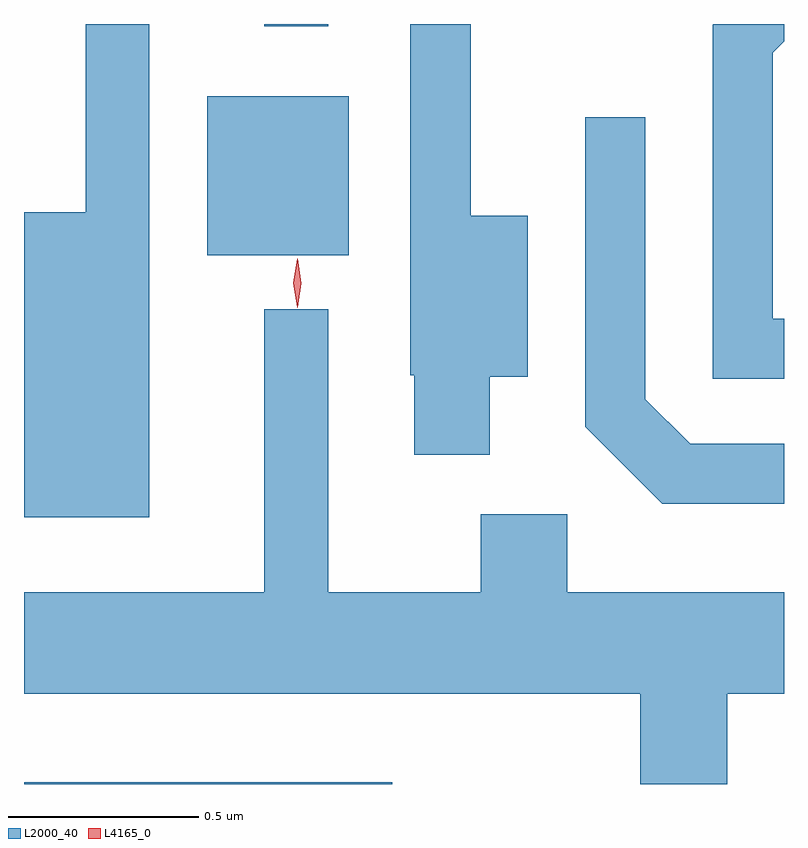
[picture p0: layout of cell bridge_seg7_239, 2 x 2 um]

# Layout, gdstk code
import gdstk
lib = gdstk.Library(unit=1e-6, precision=1e-09)
def R(c, l, rs):  # rectangles x0, y0, x1, y1
    for r in rs: c.add(gdstk.rectangle(r[:2], r[2:], *l))
def P(c, l, *ps):  # polygons
    for p in ps: c.add(gdstk.Polygon(p, *l))
L2000_40 = (2000, 40)
L4165_0 = (4165, 0)

bridge_seg7_239 = lib.new_cell('bridge_seg7_239')
R(bridge_seg7_239, L2000_40, [(1726.089,1687.439,1727.058,1687.444), (1726.571,1688.831,1726.944,1689.249), (1726.721,1689.433,1726.889,1689.439)])
P(bridge_seg7_239, L2000_40, [(1728.089,1688.664),(1728.059,1688.664),(1728.059,1689.364),(1728.089,1689.394),(1728.089,1689.439),(1727.903,1689.439),(1727.901,1689.437),(1727.901,1688.506),(1728.089,1688.506)],
  [(1726.419,1689.439),(1726.251,1689.439),(1726.251,1688.944),(1726.089,1688.944),(1726.089,1688.141),(1726.419,1688.141)],
  [(1727.314,1688.511),(1727.414,1688.511),(1727.414,1688.934),(1727.264,1688.934),(1727.264,1689.439),(1727.106,1689.439),(1727.106,1688.515),(1727.116,1688.515),(1727.116,1688.306),(1727.314,1688.306)],
  [(1728.089,1688.334),(1727.842,1688.334),(1727.724,1688.452),(1727.724,1689.193),(1727.566,1689.193),(1727.566,1688.379),(1727.769,1688.176),(1728.089,1688.176)],
  [(1727.939,1687.676),(1728.089,1687.676),(1728.089,1687.944),(1727.519,1687.944),(1727.519,1688.149),(1727.291,1688.149),(1727.291,1687.944),(1726.889,1687.944),(1726.889,1688.688),(1726.721,1688.688),(1726.721,1687.944),(1726.089,1687.944),(1726.089,1687.676),(1727.711,1687.676),(1727.711,1687.439),(1727.939,1687.439)])
P(bridge_seg7_239, L4165_0, [(1726.808,1688.692),(1726.808,1688.693),(1726.798,1688.757),(1726.808,1688.821),(1726.808,1688.821),(1726.809,1688.821),(1726.818,1688.757),(1726.809,1688.693)])

lib.write_gds('bridge_seg7_239.gds')
